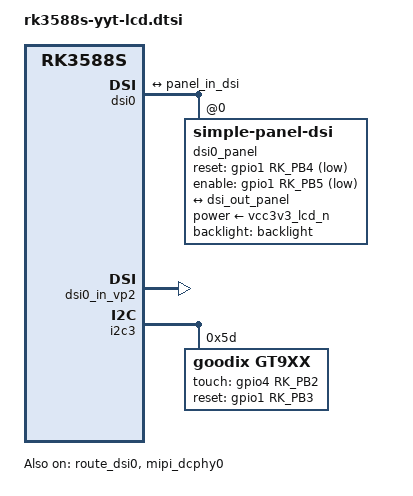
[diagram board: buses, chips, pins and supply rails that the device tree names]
/*
* Youyeetoo R1 V3 - RK3588S
* LCD DSI0 & LCD DSI1
* For some reason, pin cannot be reuse, so you've to compile it with DSI1_LCD/DSI0_LCD defined
* Currently Enabled: DSI0_LCD
*/

#define DSI0_LCD  1
#define DSI1_LCD  0

#if DSI0_LCD
&dsi0 {
    status = "okay";
    rockchip,lane-rate = <1000>;
    dsi0_panel: panel@0 {
            status = "disabled";
            compatible = "simple-panel-dsi";
            reg = <0>;
            backlight = <&backlight>;
            reset-delay-ms = <60>;
            enable-delay-ms = <60>;
            prepare-delay-ms = <60>;
            unprepare-delay-ms = <60>;
            disable-delay-ms = <60>;
            dsi,flags = <(MIPI_DSI_MODE_VIDEO | MIPI_DSI_MODE_VIDEO_BURST |
                    MIPI_DSI_MODE_LPM | MIPI_DSI_MODE_NO_EOT_PACKET)>;
            dsi,format = <MIPI_DSI_FMT_RGB888>;
            dsi,lanes  = <4>;

            panel-init-sequence = [
                        15 00 02 80 ac
                        15 00 02 81 b8
                        15 00 02 82 09
                        15 00 02 83 78
                        15 00 02 84 7f
                        15 00 02 85 bb
                        15 00 02 86 70
                    ];

                    panel-exit-sequence = [
                        05 00 01 28
                        05 00 01 10
                    ];

                    disp_timings0:display-timings {
                        native-mode = <&dsi0_timing0>;
                        dsi0_timing0: timing0 {
                            clock-frequency = <51668640>;
                            hactive = <1024>;
                            vactive = <600>;
                            hfront-porch = <160>;
                            hback-porch = <160>;
                            hsync-len = <10>;
                            vfront-porch = <12>;
                            vsync-len = <10>;
                            vback-porch = <23>;
                            hsync-active = <0>;
                            vsync-active = <0>;
                            de-active = <1>;
                            pixelclk-active = <0>;
                        };
                    };

            ports {
                    #address-cells = <1>;
                    #size-cells = <0>;

                    port@0 {
                            reg = <0>;
                            panel_in_dsi: endpoint {
                                    remote-endpoint = <&dsi_out_panel>;
                            };
                    };
            };
    };

    ports {
            #address-cells = <1>;
            #size-cells = <0>;

            port@1 {
                    reg = <1>;
                    dsi_out_panel: endpoint {
                            remote-endpoint = <&panel_in_dsi>;
                    };
            };
    };
};

&route_dsi0 {
    status = "okay";
    connect = <&vp2_out_dsi0>;
};

&dsi0 {
    status = "okay";
};

&dsi0_in_vp2 {
    status = "okay";
};

&dsi0_in_vp3 {
    status = "disabled";
};

&dsi0_panel {
    power-supply = <&vcc3v3_lcd_n>;
    reset-gpios = <&gpio1 RK_PB4 GPIO_ACTIVE_LOW>;
    enable-gpios = <&gpio1 RK_PB5 GPIO_ACTIVE_LOW>;
    pinctrl-names = "default";
    pinctrl-0 = <&lcd_rst_gpio>;
    status = "okay";
};

&i2c3 {
    status = "okay";
    pinctrl-names = "default";
    pinctrl-0 = <&i2c3m2_xfer>;

    gt9xx: gt9xx@5d {
            compatible = "goodix,gt9xx";
            reg = <0x5d>;
            touch-gpio = <&gpio4 RK_PB2 GPIO_ACTIVE_HIGH>;
            reset-gpio = <&gpio1 RK_PB3 GPIO_ACTIVE_HIGH>;
            max-x = <1024>;
            max-y = <600>;
            tp-size = <911>;
            pinctrl-names = "default";
            pinctrl-0 = <&touch_gpio>;

            status = "okay";
    };
};

&mipi_dcphy0 {
    status = "okay";
};

#endif

#if DSI1_LCD

&dsi1 {
    status = "okay";
    dsi1_panel: panel@0 {
            status = "okay";
            compatible = "simple-panel-dsi";
            reg = <0>;
            backlight = <&backlight1>;
            reset-delay-ms = <60>;
            enable-delay-ms = <60>;
            prepare-delay-ms = <60>;
            unprepare-delay-ms = <60>;
            disable-delay-ms = <60>;
            dsi,flags = <(MIPI_DSI_MODE_VIDEO | MIPI_DSI_MODE_VIDEO_BURST |
                    MIPI_DSI_MODE_LPM | MIPI_DSI_MODE_NO_EOT_PACKET)>;
            dsi,format = <MIPI_DSI_FMT_RGB888>;
            dsi,lanes  = <4>;
            panel-init-sequence = [
                        15 00 02 80 ac
                        15 00 02 81 b8
                        15 00 02 82 09
                        15 00 02 83 78
                        15 00 02 84 7f
                        15 00 02 85 bb
                        15 00 02 86 70
                    ];

                    panel-exit-sequence = [
                        05 00 01 28
                        05 00 01 10
                    ];

                    disp_timings1:display-timings {
                        native-mode = <&dsi1_timing0>;
                        dsi1_timing0: timing0 {
                            clock-frequency = <51668640>;
                            hactive = <1024>;
                            vactive = <600>;
                            hfront-porch = <160>; 
                            hback-porch = <160>;
                            hsync-len = <10>;
                            vfront-porch = <12>;
                            vsync-len = <10>;
                            vback-porch = <23>;
                            hsync-active = <0>;
                            vsync-active = <0>;
                            de-active = <1>;
                            pixelclk-active = <0>;
                        };
                    };

            ports {
                    #address-cells = <1>;
                    #size-cells = <0>;

                    port@0 {
                            reg = <0>;
                            panel_in_dsi1: endpoint {
                                    remote-endpoint = <&dsi1_out_panel>;
                            };
                    };
            };
    };

    ports {
            #address-cells = <1>;
            #size-cells = <0>;

            port@1 {
                    reg = <1>;
                    dsi1_out_panel: endpoint {
                            remote-endpoint = <&panel_in_dsi1>;
                    };
            };
    };
};

&dsi1 {
    pinctrl-names = "default";
    status = "okay";
};

&dsi1_in_vp2 {
    status = "disabled";
};

&dsi1_in_vp3 {
    status = "okay";
};

&dsi1_panel {
    power-supply = <&vcc3v3_lcd_n>;
    reset-gpios = <&gpio1 RK_PB4 GPIO_ACTIVE_LOW>;
    enable-gpios = <&gpio1 RK_PB5 GPIO_ACTIVE_LOW>;
    pinctrl-names = "default";
    pinctrl-0 = <&lcd_rst_gpio>;
};

&route_dsi1 {
    status = "okay";
    connect = <&vp3_out_dsi1>;
};

&i2c5 {
    status = "okay";
    pinctrl-0 = <&i2c5m3_xfer>;

    gt9xx: gt9xx@5d {
            compatible = "goodix,gt9xx";
            reg = <0x5d>;
            touch-gpio = <&gpio1 RK_PB2 GPIO_ACTIVE_HIGH>;
            reset-gpio = <&gpio1 RK_PB3 GPIO_ACTIVE_HIGH>;
            max-x = <1024>;
            max-y = <600>;
            tp-size = <911>;
            pinctrl-names = "default";
            pinctrl-0 = <&touch_gpio>;

            status = "okay";
    };
};

&mipi_dcphy1 {
        status = "okay";
};

#endif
